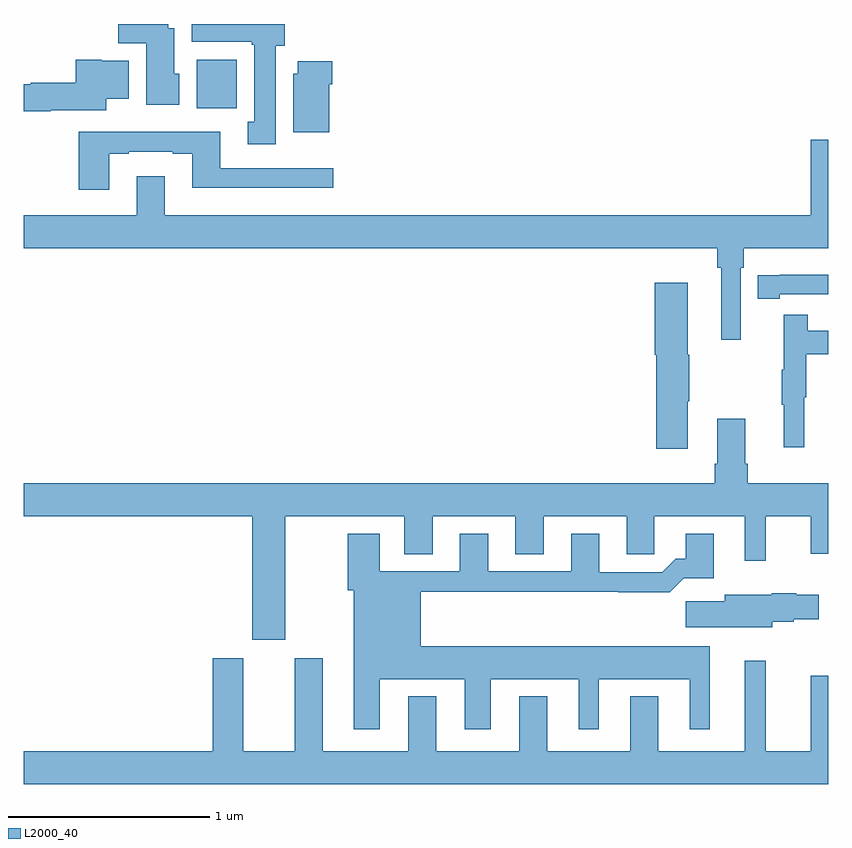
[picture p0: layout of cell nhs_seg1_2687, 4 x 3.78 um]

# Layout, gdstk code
import gdstk
lib = gdstk.Library(unit=1e-6, precision=1e-09)
def R(c, l, rs):  # rectangles x0, y0, x1, y1
    for r in rs: c.add(gdstk.rectangle(r[:2], r[2:], *l))
def P(c, l, *ps):  # polygons
    for p in ps: c.add(gdstk.Polygon(p, *l))
L2000_40 = (2000, 40)

nhs_seg1_2687 = lib.new_cell('nhs_seg1_2687')
R(nhs_seg1_2687, L2000_40, [(257.861,533.78,258.058,534.022)])
P(nhs_seg1_2687, L2000_40, [(258.253,534.09),(258.298,534.09),(258.298,534.199),(257.834,534.199),(257.834,534.11),(258.133,534.11),(258.133,534.097),(258.146,534.097),(258.146,533.714),(258.113,533.714),(258.113,533.601),(258.253,533.601)],
  [(257.773,533.952),(257.749,533.952),(257.749,534.178),(257.719,534.178),(257.719,534.199),(257.47,534.199),(257.47,534.104),(257.609,534.104),(257.609,533.798),(257.773,533.798)],
  [(257.134,533.771),(257.41,533.771),(257.41,533.828),(257.521,533.828),(257.521,534.016),(257.388,534.016),(257.388,534.022),(257.258,534.022),(257.258,533.908),(257.034,533.908),(257.034,533.9),(257,533.9),(257,533.764),(257.134,533.764)],
  [(258.52,533.9),(258.533,533.9),(258.533,534.013),(258.362,534.013),(258.362,533.952),(258.341,533.952),(258.341,533.66),(258.52,533.66)],
  [(257.425,533.553),(257.521,533.553),(257.521,533.565),(257.741,533.565),(257.741,533.553),(257.837,533.553),(257.837,533.384),(258.538,533.384),(258.538,533.481),(257.977,533.481),(257.977,533.662),(257.273,533.662),(257.273,533.376),(257.425,533.376)],
  [(257.701,533.443),(257.561,533.443),(257.561,533.248),(257,533.248),(257,533.084),(260.449,533.084),(260.449,532.988),(260.468,532.988),(260.468,532.629),(260.565,532.629),(260.565,532.988),(260.579,532.988),(260.579,533.084),(261,533.084),(261,533.623),(260.912,533.623),(260.912,533.248),(257.701,533.248)],
  [(260.758,532.854),(261,532.854),(261,532.951),(260.758,532.951),(260.758,532.95),(260.65,532.95),(260.65,532.834),(260.758,532.834)],
  [(260.302,532.324),(260.31,532.324),(260.31,532.554),(260.302,532.554),(260.302,532.912),(260.138,532.912),(260.138,532.554),(260.144,532.554),(260.144,532.086),(260.302,532.086)],
  [(260.882,532.344),(260.89,532.344),(260.89,532.558),(261,532.558),(261,532.674),(260.897,532.674),(260.897,532.753),(260.779,532.753),(260.779,532.481),(260.769,532.481),(260.769,532.307),(260.779,532.307),(260.779,532.095),(260.882,532.095)],
  [(258.301,531.752),(258.893,531.752),(258.893,531.562),(259.033,531.562),(259.033,531.752),(259.445,531.752),(259.445,531.562),(259.585,531.562),(259.585,531.752),(259.997,531.752),(259.997,531.562),(260.136,531.562),(260.136,531.752),(260.585,531.752),(260.585,531.531),(260.689,531.531),(260.689,531.752),(260.912,531.752),(260.912,531.564),(261,531.564),(261,531.916),(260.6,531.916),(260.6,532.012),(260.587,532.012),(260.587,532.237),(260.447,532.237),(260.447,532.012),(260.435,532.012),(260.435,531.916),(257,531.916),(257,531.752),(258.137,531.752),(258.137,531.138),(258.301,531.138)],
  [(258.769,530.942),(259.193,530.942),(259.193,530.691),(259.321,530.691),(259.321,530.942),(259.76,530.942),(259.76,530.691),(259.858,530.691),(259.858,530.942),(260.312,530.942),(260.312,530.691),(260.41,530.691),(260.41,531.106),(258.973,531.106),(258.973,531.376),(259.957,531.376),(259.957,531.374),(260.213,531.374),(260.282,531.443),(260.431,531.443),(260.431,531.664),(260.291,531.664),(260.291,531.541),(260.242,531.541),(260.175,531.474),(259.861,531.474),(259.861,531.664),(259.721,531.664),(259.721,531.477),(259.309,531.477),(259.309,531.664),(259.169,531.664),(259.169,531.477),(258.769,531.477),(258.769,531.664),(258.61,531.664),(258.61,531.384),(258.641,531.384),(258.641,530.691),(258.769,530.691)],
  [(260.722,531.227),(260.829,531.227),(260.829,531.239),(260.953,531.239),(260.953,531.361),(260.84,531.361),(260.84,531.369),(260.718,531.369),(260.718,531.361),(260.486,531.361),(260.486,531.329),(260.291,531.329),(260.291,531.2),(260.722,531.2)],
  [(261,530.959),(260.912,530.959),(260.912,530.584),(260.689,530.584),(260.689,531.034),(260.585,531.034),(260.585,530.584),(260.155,530.584),(260.155,530.857),(260.015,530.857),(260.015,530.584),(259.603,530.584),(259.603,530.857),(259.463,530.857),(259.463,530.584),(259.051,530.584),(259.051,530.857),(258.911,530.857),(258.911,530.584),(258.487,530.584),(258.487,531.046),(258.347,531.046),(258.347,530.584),(258.091,530.584),(258.091,531.046),(257.939,531.046),(257.939,530.584),(257,530.584),(257,530.42),(261,530.42)])

lib.write_gds('nhs_seg1_2687.gds')
